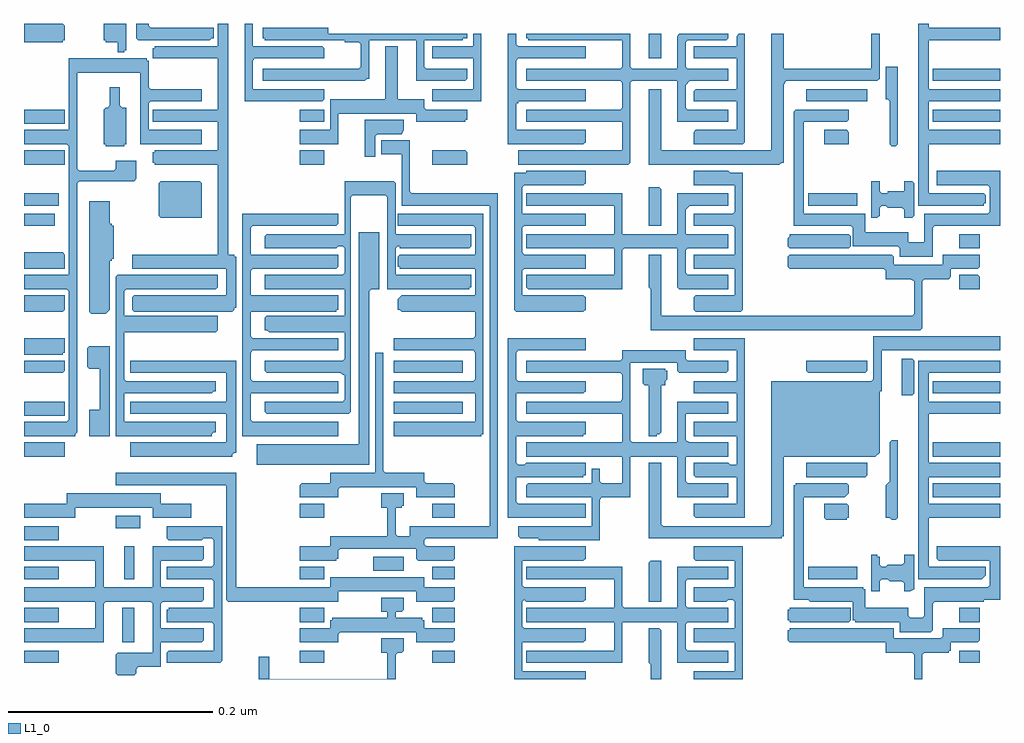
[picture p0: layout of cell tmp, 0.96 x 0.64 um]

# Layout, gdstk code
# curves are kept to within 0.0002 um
import gdstk
lib = gdstk.Library(unit=1e-6, precision=1e-09)
def R(c, l, rs):  # rectangles x0, y0, x1, y1
    for r in rs: c.add(gdstk.rectangle(r[:2], r[2:], *l))
def P(c, l, *ps):  # polygons
    for p in ps: c.add(gdstk.Polygon(p, *l))
L1_0 = (1, 0)

tmp = lib.new_cell('tmp')
R(tmp, L1_0, [(1.37,0.754,1.394,0.766), (1.5,0.754,1.522,0.766), (2.016,0.754,2.036,0.766), (1.37,0.794,1.394,0.808), (1.5,0.794,1.522,0.808), (1.37,0.836,1.394,0.848), (1.5,0.836,1.522,0.848), (1.442,0.844,1.472,0.858), (1.19,0.886,1.214,0.898), (1.1,0.956,1.14,0.97), (1.1,0.996,1.14,1.01), (1.99,1.018,2.056,1.03), (1.1,1.202,1.134,1.214), (1.1,1.242,1.14,1.256), (1.37,1.242,1.394,1.256), (1.37,1.284,1.394,1.296), (1.99,1.284,2.056,1.296)])
P(tmp, L1_0, [(1.1,0.766),(1.1,0.754),(1.134,0.754),(1.134,0.754),(1.134,0.766)],
  [(1.45,0.778),(1.45,0.764),(1.456,0.764),(1.456,0.738),(1.34,0.738),(1.34,0.76),(1.33,0.76),(1.33,0.738),(1.224,0.738),(1.464,0.738),(1.464,0.762),(1.466,0.764),(1.47,0.764),(1.472,0.766),(1.472,0.778)],
  [(1.85,0.788),(1.85,0.786),(1.848,0.786),(1.848,0.776),(1.85,0.774),(1.944,0.774),(1.944,0.764),(1.97,0.764),(1.972,0.762),(1.972,0.738),(1.98,0.738),(1.98,0.762),(1.982,0.764),(2.006,0.764),(2.006,0.766),(2.008,0.766),(2.008,0.774),(2.034,0.774),(2.036,0.776),(2.036,0.788),(2,0.788),(2,0.78),(1.998,0.778),(1.952,0.778),(1.952,0.788)],
  [(1.712,0.788),(1.712,0.754),(1.712,0.754),(1.714,0.752),(1.714,0.738),(1.724,0.738),(1.724,0.786),(1.722,0.788)],
  [(2.016,0.808),(2.016,0.794),(2.036,0.794),(2.036,0.796),(2.036,0.808)],
  [(1.85,0.808),(1.85,0.806),(1.848,0.806),(1.848,0.796),(1.85,0.796),(1.85,0.794),(1.908,0.794),(1.91,0.796),(1.91,0.808)],
  [(1.196,0.808),(1.196,0.774),(1.208,0.774),(1.208,0.776),(1.208,0.806),(1.208,0.806),(1.208,0.808)],
  [(1.1,0.808),(1.1,0.794),(1.134,0.794),(1.134,0.796),(1.134,0.808)],
  [(1.45,0.818),(1.45,0.804),(1.456,0.804),(1.456,0.798),(1.402,0.798),(1.402,0.796),(1.4,0.796),(1.4,0.788),(1.37,0.788),(1.37,0.774),(1.408,0.774),(1.408,0.782),(1.41,0.784),(1.484,0.784),(1.484,0.774),(1.52,0.774),(1.522,0.776),(1.522,0.788),(1.492,0.788),(1.492,0.796),(1.49,0.796),(1.49,0.798),(1.464,0.798),(1.464,0.804),(1.47,0.804),(1.472,0.806),(1.472,0.818)],
  [(1.87,0.848),(1.868,0.848),(1.868,0.836),(1.87,0.836),(1.916,0.836),(1.916,0.836),(1.916,0.848)],
  [(1.592,0.848),(1.592,0.836),(1.678,0.836),(1.678,0.808),(1.592,0.808),(1.592,0.794),(1.678,0.794),(1.678,0.766),(1.592,0.766),(1.592,0.754),(1.686,0.754),(1.686,0.794),(1.74,0.794),(1.74,0.754),(1.79,0.754),(1.79,0.766),(1.75,0.766),(1.748,0.768),(1.748,0.792),(1.75,0.794),(1.79,0.794),(1.79,0.808),(1.75,0.808),(1.748,0.81),(1.748,0.834),(1.75,0.836),(1.79,0.836),(1.79,0.848),(1.74,0.848),(1.74,0.808),(1.688,0.808),(1.686,0.81),(1.686,0.848)],
  [(1.1,0.848),(1.1,0.836),(1.134,0.836),(1.134,0.836),(1.134,0.848)],
  [(1.714,0.854),(1.712,0.852),(1.712,0.852),(1.712,0.816),(1.712,0.814),(1.714,0.814),(1.714,0.814),(1.722,0.814),(1.722,0.814),(1.724,0.814),(1.724,0.854)],
  [(1.962,0.86),(1.962,0.852),(1.96,0.85),(1.946,0.85),(1.944,0.848),(1.94,0.848),(1.938,0.85),(1.938,0.858),(1.936,0.858),(1.936,0.86),(1.93,0.86),(1.93,0.824),(1.938,0.824),(1.938,0.834),(1.94,0.836),(1.946,0.836),(1.948,0.834),(1.96,0.834),(1.962,0.832),(1.962,0.824),(1.968,0.824),(1.972,0.826),(1.972,0.86)],
  [(1.756,0.868),(1.756,0.856),(1.758,0.854),(1.796,0.854),(1.796,0.828),(1.756,0.828),(1.756,0.814),(1.788,0.814),(1.79,0.816),(1.794,0.816),(1.796,0.814),(1.796,0.788),(1.756,0.788),(1.756,0.774),(1.796,0.774),(1.796,0.746),(1.756,0.746),(1.756,0.738),(1.804,0.738),(1.804,0.868)],
  [(1.58,0.868),(1.58,0.738),(1.65,0.738),(1.65,0.746),(1.588,0.746),(1.588,0.774),(1.648,0.774),(1.65,0.776),(1.65,0.788),(1.59,0.788),(1.588,0.79),(1.588,0.814),(1.59,0.816),(1.592,0.814),(1.648,0.814),(1.65,0.816),(1.65,0.828),(1.59,0.828),(1.588,0.83),(1.588,0.854),(1.648,0.854),(1.65,0.856),(1.65,0.868)],
  [(1.2,0.868),(1.198,0.868),(1.198,0.836),(1.208,0.836),(1.208,0.836),(1.208,0.868),(1.208,0.868)],
  [(1.1,0.868),(1.1,0.854),(1.17,0.854),(1.17,0.828),(1.1,0.828),(1.1,0.814),(1.17,0.814),(1.17,0.788),(1.1,0.788),(1.1,0.774),(1.178,0.774),(1.178,0.812),(1.18,0.814),(1.224,0.814),(1.226,0.812),(1.226,0.764),(1.192,0.764),(1.19,0.762),(1.19,0.744),(1.192,0.742),(1.208,0.742),(1.21,0.744),(1.21,0.748),(1.212,0.75),(1.234,0.75),(1.234,0.774),(1.274,0.774),(1.276,0.776),(1.276,0.788),(1.234,0.788),(1.234,0.812),(1.236,0.814),(1.274,0.814),(1.276,0.816),(1.276,0.828),(1.234,0.828),(1.234,0.854),(1.274,0.854),(1.276,0.856),(1.276,0.868),(1.226,0.868),(1.226,0.828),(1.178,0.828),(1.178,0.868)],
  [(1.242,0.888),(1.24,0.888),(1.24,0.876),(1.242,0.874),(1.274,0.874),(1.276,0.876),(1.284,0.876),(1.286,0.874),(1.286,0.85),(1.284,0.848),(1.24,0.848),(1.24,0.836),(1.284,0.836),(1.286,0.834),(1.286,0.808),(1.242,0.808),(1.242,0.806),(1.24,0.806),(1.24,0.794),(1.284,0.794),(1.286,0.792),(1.286,0.766),(1.242,0.766),(1.24,0.764),(1.24,0.754),(1.292,0.754),(1.294,0.756),(1.294,0.888)],
  [(1.1,0.888),(1.1,0.874),(1.134,0.874),(1.134,0.876),(1.134,0.888)],
  [(1.884,0.91),(1.884,0.908),(1.884,0.896),(1.886,0.894),(1.906,0.894),(1.906,0.896),(1.908,0.896),(1.908,0.896),(1.908,0.908),(1.908,0.908),(1.906,0.91)],
  [(1.5,0.91),(1.5,0.896),(1.5,0.896),(1.522,0.896),(1.522,0.91)],
  [(1.37,0.91),(1.37,0.896),(1.392,0.896),(1.394,0.896),(1.394,0.91)],
  [(1.142,0.92),(1.142,0.91),(1.14,0.91),(1.1,0.91),(1.1,0.896),(1.148,0.896),(1.15,0.896),(1.15,0.906),(1.15,0.906),(1.224,0.906),(1.226,0.906),(1.226,0.896),(1.226,0.896),(1.262,0.896),(1.264,0.896),(1.264,0.898),(1.264,0.9),(1.264,0.908),(1.264,0.91),(1.236,0.91),(1.234,0.91),(1.234,0.92)],
  [(1.99,0.93),(1.99,0.928),(1.99,0.916),(1.99,0.916),(2.056,0.916),(2.056,0.93)],
  [(1.856,0.93),(1.856,0.928),(1.854,0.928),(1.854,0.816),(1.868,0.816),(1.87,0.814),(1.912,0.814),(1.912,0.796),(1.914,0.796),(1.914,0.794),(1.958,0.794),(1.958,0.784),(1.988,0.784),(1.99,0.786),(1.99,0.812),(1.992,0.814),(2.04,0.814),(2.04,0.816),(2.056,0.816),(2.056,0.868),(1.994,0.868),(1.994,0.856),(1.996,0.854),(2.046,0.854),(2.046,0.83),(2.044,0.828),(1.982,0.828),(1.982,0.8),(1.98,0.798),(1.968,0.798),(1.966,0.8),(1.966,0.808),(1.924,0.808),(1.924,0.826),(1.922,0.826),(1.922,0.828),(1.864,0.828),(1.864,0.916),(1.904,0.916),(1.908,0.92),(1.908,0.928),(1.906,0.93)],
  [(1.19,0.94),(1.19,0.928),(1.298,0.928),(1.298,0.816),(1.3,0.814),(1.408,0.814),(1.408,0.824),(1.484,0.824),(1.484,0.814),(1.52,0.814),(1.522,0.816),(1.522,0.828),(1.492,0.828),(1.492,0.838),(1.4,0.838),(1.4,0.828),(1.308,0.828),(1.308,0.94)],
  [(1.866,0.95),(1.866,0.95),(1.866,0.938),(1.866,0.936),(1.924,0.936),(1.926,0.938),(1.926,0.95),(1.924,0.95)],
  [(1.99,0.97),(1.99,0.958),(1.99,0.956),(2.056,0.956),(2.056,0.97)],
  [(1.95,0.972),(1.948,0.97),(1.948,0.932),(1.944,0.928),(1.944,0.896),(1.948,0.896),(1.95,0.894),(1.954,0.894),(1.956,0.896),(1.956,0.972)],
  [(1.462,1.01),(1.462,1),(1.462,0.998),(1.53,0.998),(1.53,1.01)],
  [(1.706,1.042),(1.706,1.028),(1.708,1.026),(1.712,1.026),(1.712,0.976),(1.72,0.976),(1.72,0.978),(1.722,0.978),(1.724,0.98),(1.724,1.026),(1.728,1.026),(1.728,1.03),(1.73,1.032),(1.73,1.04),(1.728,1.04),(1.728,1.042)],
  [(1.976,1.05),(1.976,0.836),(2.038,0.836),(2.042,0.84),(2.042,0.848),(1.986,0.848),(1.986,0.896),(2.056,0.896),(2.056,0.91),(1.986,0.91),(1.986,0.936),(2.056,0.936),(2.056,0.95),(1.986,0.95),(1.986,0.998),(2.056,0.998),(2.056,1.01),(1.986,1.01),(1.986,1.038),(2.056,1.038),(2.056,1.05)],
  [(1.866,1.05),(1.866,1.04),(1.868,1.038),(1.924,1.038),(1.926,1.04),(1.926,1.05)],
  [(1.462,1.05),(1.462,1.038),(1.462,1.038),(1.464,1.038),(1.53,1.038),(1.53,1.038),(1.53,1.05)],
  [(1.204,1.05),(1.204,1.038),(1.298,1.038),(1.298,1.01),(1.204,1.01),(1.204,0.998),(1.298,0.998),(1.298,0.97),(1.204,0.97),(1.204,0.956),(1.304,0.956),(1.304,0.958),(1.306,0.96),(1.308,0.96),(1.308,1.05)],
  [(1.1,1.05),(1.1,1.038),(1.138,1.038),(1.14,1.04),(1.14,1.05)],
  [(1.96,1.052),(1.96,1.016),(1.962,1.016),(1.97,1.016),(1.972,1.018),(1.972,1.05),(1.97,1.052),(1.97,1.052)],
  [(1.444,1.058),(1.444,0.94),(1.4,0.94),(1.4,0.93),(1.372,0.93),(1.37,0.928),(1.37,0.916),(1.408,0.916),(1.408,0.924),(1.41,0.926),(1.484,0.926),(1.484,0.916),(1.522,0.916),(1.522,0.928),(1.52,0.93),(1.494,0.93),(1.492,0.932),(1.492,0.94),(1.454,0.94),(1.452,0.942),(1.452,1.058)],
  [(1.686,1.06),(1.686,1.052),(1.684,1.05),(1.592,1.05),(1.592,1.038),(1.684,1.038),(1.686,1.036),(1.686,1.012),(1.684,1.01),(1.592,1.01),(1.592,0.998),(1.686,0.998),(1.686,0.97),(1.592,0.97),(1.592,0.956),(1.686,0.956),(1.686,0.93),(1.666,0.93),(1.664,0.932),(1.664,0.944),(1.656,0.944),(1.656,0.93),(1.594,0.93),(1.592,0.928),(1.592,0.916),(1.656,0.916),(1.656,0.888),(1.584,0.888),(1.584,0.878),(1.586,0.876),(1.604,0.876),(1.604,0.874),(1.664,0.874),(1.664,0.914),(1.666,0.916),(1.694,0.916),(1.694,0.956),(1.74,0.956),(1.74,0.916),(1.79,0.916),(1.79,0.93),(1.75,0.93),(1.748,0.932),(1.748,0.956),(1.79,0.956),(1.79,0.97),(1.752,0.97),(1.748,0.972),(1.748,0.998),(1.79,0.998),(1.79,1.01),(1.74,1.01),(1.74,0.97),(1.696,0.97),(1.694,0.972),(1.694,1.048),(1.74,1.048),(1.74,1.04),(1.742,1.038),(1.788,1.038),(1.79,1.04),(1.79,1.05),(1.75,1.05),(1.748,1.052),(1.748,1.06)],
  [(1.164,1.064),(1.162,1.062),(1.162,1.044),(1.164,1.042),(1.174,1.042),(1.174,1.002),(1.164,1.002),(1.164,0.976),(1.184,0.976),(1.184,1.064)],
  [(1.756,1.072),(1.756,1.06),(1.798,1.06),(1.798,1.03),(1.756,1.03),(1.756,1.018),(1.798,1.018),(1.798,0.99),(1.756,0.99),(1.756,0.976),(1.798,0.976),(1.798,0.948),(1.792,0.948),(1.79,0.95),(1.756,0.95),(1.756,0.938),(1.758,0.936),(1.798,0.936),(1.798,0.91),(1.756,0.91),(1.756,0.898),(1.758,0.896),(1.806,0.896),(1.806,1.072)],
  [(1.574,1.072),(1.574,0.896),(1.65,0.896),(1.65,0.91),(1.584,0.91),(1.582,0.912),(1.582,0.936),(1.648,0.936),(1.648,0.938),(1.65,0.938),(1.65,0.95),(1.592,0.95),(1.59,0.948),(1.584,0.948),(1.582,0.95),(1.582,0.976),(1.648,0.976),(1.648,0.978),(1.65,0.978),(1.65,0.99),(1.584,0.99),(1.582,0.992),(1.582,1.018),(1.648,1.018),(1.65,1.02),(1.65,1.03),(1.584,1.03),(1.582,1.032),(1.582,1.058),(1.584,1.06),(1.65,1.06),(1.65,1.072)],
  [(1.1,1.072),(1.1,1.056),(1.138,1.056),(1.138,1.058),(1.14,1.058),(1.14,1.072)],
  [(1.932,1.074),(1.932,1.032),(1.93,1.03),(1.832,1.03),(1.832,0.89),(1.83,0.888),(1.726,0.888),(1.724,0.89),(1.724,0.95),(1.712,0.95),(1.712,0.876),(1.842,0.876),(1.842,0.878),(1.844,0.878),(1.844,0.956),(1.934,0.956),(1.938,0.96),(1.938,1.02),(1.94,1.02),(1.94,1.06),(2.056,1.06),(2.056,1.074)],
  [(1.1,1.114),(1.1,1.098),(1.138,1.098),(1.14,1.1),(1.14,1.114),(1.138,1.114)],
  [(2.016,1.134),(2.016,1.134),(2.016,1.12),(2.036,1.12),(2.036,1.122),(2.036,1.132),(2.034,1.134)],
  [(1.192,1.134),(1.19,1.132),(1.19,0.976),(1.284,0.976),(1.284,0.978),(1.286,0.98),(1.288,0.98),(1.288,0.99),(1.198,0.99),(1.198,1.018),(1.284,1.018),(1.286,1.02),(1.288,1.02),(1.288,1.03),(1.2,1.03),(1.198,1.032),(1.198,1.078),(1.288,1.078),(1.29,1.08),(1.29,1.094),(1.198,1.094),(1.198,1.118),(1.2,1.12),(1.288,1.12),(1.29,1.122),(1.29,1.134)],
  [(1.712,1.154),(1.712,1.122),(1.714,1.12),(1.714,1.08),(1.978,1.08),(1.98,1.082),(1.98,1.128),(1.982,1.13),(2.006,1.13),(2.008,1.132),(2.008,1.14),(2.034,1.14),(2.036,1.142),(2.036,1.154),(2,1.154),(2,1.144),(1.952,1.144),(1.952,1.152),(1.95,1.154),(1.85,1.154),(1.848,1.152),(1.848,1.142),(1.85,1.14),(1.942,1.14),(1.944,1.138),(1.944,1.13),(1.968,1.13),(1.972,1.128),(1.972,1.096),(1.97,1.094),(1.724,1.094),(1.724,1.154)],
  [(1.1,1.156),(1.1,1.14),(1.14,1.14),(1.14,1.154),(1.138,1.156)],
  [(2.016,1.174),(2.016,1.16),(2.036,1.16),(2.036,1.162),(2.036,1.172),(2.036,1.174)],
  [(1.85,1.174),(1.85,1.172),(1.85,1.172),(1.848,1.17),(1.848,1.162),(1.85,1.16),(1.908,1.16),(1.91,1.162),(1.91,1.172),(1.908,1.174)],
  [(1.43,1.176),(1.428,1.176),(1.428,0.968),(1.328,0.968),(1.328,0.948),(1.438,0.948),(1.438,1.118),(1.44,1.12),(1.448,1.12),(1.448,1.176)],
  [(1.468,1.194),(1.466,1.194),(1.466,1.182),(1.54,1.182),(1.542,1.18),(1.542,1.154),(1.468,1.154),(1.466,1.152),(1.466,1.142),(1.468,1.142),(1.468,1.14),(1.542,1.14),(1.542,1.114),(1.47,1.114),(1.466,1.11),(1.466,1.1),(1.468,1.1),(1.47,1.098),(1.542,1.098),(1.542,1.074),(1.54,1.072),(1.462,1.072),(1.462,1.06),(1.54,1.06),(1.542,1.058),(1.542,1.032),(1.54,1.03),(1.462,1.03),(1.462,1.018),(1.542,1.018),(1.542,0.99),(1.462,0.99),(1.462,0.976),(1.548,0.976),(1.548,0.978),(1.55,0.978),(1.55,1.194)],
  [(1.316,1.194),(1.314,1.194),(1.314,0.976),(1.408,0.976),(1.408,0.99),(1.324,0.99),(1.322,0.992),(1.322,1.018),(1.408,1.018),(1.408,1.03),(1.324,1.03),(1.322,1.032),(1.322,1.058),(1.324,1.06),(1.408,1.06),(1.408,1.072),(1.324,1.072),(1.322,1.074),(1.322,1.098),(1.406,1.098),(1.406,1.1),(1.408,1.1),(1.408,1.114),(1.322,1.114),(1.322,1.138),(1.324,1.14),(1.406,1.14),(1.408,1.142),(1.408,1.154),(1.322,1.154),(1.322,1.18),(1.324,1.182),(1.406,1.182),(1.408,1.184),(1.408,1.194)],
  [(1.1,1.194),(1.1,1.182),(1.128,1.182),(1.13,1.182),(1.13,1.184),(1.13,1.184),(1.13,1.194),(1.13,1.194)],
  [(1.164,1.206),(1.164,1.098),(1.166,1.096),(1.18,1.096),(1.184,1.1),(1.184,1.148),(1.186,1.148),(1.186,1.15),(1.188,1.15),(1.188,1.182),(1.186,1.182),(1.186,1.184),(1.184,1.184),(1.184,1.206)],
  [(1.87,1.214),(1.868,1.214),(1.868,1.202),(1.87,1.202),(1.916,1.202),(1.916,1.214),(1.916,1.214)],
  [(1.592,1.214),(1.592,1.202),(1.678,1.202),(1.678,1.174),(1.592,1.174),(1.592,1.16),(1.678,1.16),(1.678,1.134),(1.592,1.134),(1.592,1.122),(1.594,1.12),(1.686,1.12),(1.686,1.158),(1.688,1.16),(1.74,1.16),(1.74,1.122),(1.742,1.12),(1.79,1.12),(1.79,1.134),(1.75,1.134),(1.748,1.136),(1.748,1.158),(1.75,1.16),(1.79,1.16),(1.79,1.174),(1.748,1.174),(1.748,1.198),(1.752,1.202),(1.79,1.202),(1.79,1.214),(1.74,1.214),(1.74,1.174),(1.686,1.174),(1.686,1.214)],
  [(1.712,1.22),(1.712,1.218),(1.712,1.182),(1.712,1.182),(1.724,1.182),(1.724,1.218),(1.722,1.22)],
  [(1.414,1.226),(1.414,1.174),(1.338,1.174),(1.336,1.172),(1.336,1.16),(1.406,1.16),(1.408,1.162),(1.412,1.162),(1.414,1.16),(1.414,1.136),(1.412,1.134),(1.336,1.134),(1.336,1.12),(1.414,1.12),(1.414,1.094),(1.338,1.094),(1.336,1.092),(1.336,1.08),(1.338,1.08),(1.34,1.078),(1.414,1.078),(1.414,1.052),(1.412,1.05),(1.336,1.05),(1.336,1.04),(1.338,1.038),(1.41,1.038),(1.412,1.036),(1.414,1.036),(1.414,1.012),(1.412,1.01),(1.336,1.01),(1.336,1),(1.338,0.998),(1.418,0.998),(1.42,1),(1.42,1.21),(1.422,1.212),(1.454,1.212),(1.456,1.21),(1.456,1.12),(1.536,1.12),(1.536,1.122),(1.538,1.122),(1.538,1.134),(1.464,1.134),(1.464,1.16),(1.466,1.162),(1.468,1.162),(1.468,1.16),(1.536,1.16),(1.538,1.162),(1.538,1.174),(1.464,1.174),(1.464,1.224),(1.462,1.226)],
  [(1.234,1.226),(1.232,1.224),(1.232,1.224),(1.232,1.192),(1.232,1.192),(1.234,1.19),(1.274,1.19),(1.274,1.224),(1.272,1.226)],
  [(1.93,1.226),(1.93,1.19),(1.936,1.19),(1.938,1.192),(1.938,1.2),(1.94,1.202),(1.944,1.202),(1.946,1.2),(1.96,1.2),(1.962,1.198),(1.962,1.19),(1.97,1.19),(1.972,1.192),(1.972,1.224),(1.97,1.226),(1.962,1.226),(1.962,1.216),(1.946,1.216),(1.946,1.214),(1.94,1.214),(1.938,1.216),(1.938,1.226)],
  [(1.756,1.236),(1.756,1.222),(1.796,1.222),(1.796,1.196),(1.794,1.194),(1.756,1.194),(1.756,1.182),(1.794,1.182),(1.796,1.18),(1.796,1.154),(1.756,1.154),(1.756,1.14),(1.796,1.14),(1.796,1.114),(1.758,1.114),(1.756,1.112),(1.756,1.1),(1.758,1.098),(1.802,1.098),(1.804,1.1),(1.804,1.234),(1.792,1.234),(1.79,1.236)],
  [(1.592,1.236),(1.592,1.234),(1.58,1.234),(1.58,1.1),(1.582,1.098),(1.648,1.098),(1.65,1.1),(1.65,1.112),(1.648,1.114),(1.588,1.114),(1.588,1.138),(1.59,1.14),(1.65,1.14),(1.65,1.154),(1.59,1.154),(1.588,1.156),(1.588,1.18),(1.59,1.182),(1.65,1.182),(1.65,1.194),(1.588,1.194),(1.588,1.22),(1.59,1.222),(1.648,1.222),(1.65,1.224),(1.65,1.236)],
  [(1.5,1.256),(1.5,1.254),(1.5,1.242),(1.534,1.242),(1.534,1.254),(1.532,1.256)],
  [(1.45,1.266),(1.45,1.252),(1.47,1.252),(1.47,1.202),(1.556,1.202),(1.556,0.888),(1.478,0.888),(1.478,0.878),(1.466,0.878),(1.464,0.88),(1.464,0.906),(1.47,0.906),(1.47,0.908),(1.472,0.908),(1.472,0.92),(1.45,0.92),(1.45,0.906),(1.456,0.906),(1.456,0.878),(1.4,0.878),(1.4,0.868),(1.37,0.868),(1.37,0.854),(1.406,0.854),(1.406,0.856),(1.408,0.856),(1.408,0.864),(1.41,0.866),(1.484,0.866),(1.484,0.856),(1.486,0.854),(1.52,0.854),(1.522,0.856),(1.522,0.868),(1.494,0.868),(1.492,0.87),(1.492,0.874),(1.494,0.876),(1.564,0.876),(1.564,1.214),(1.48,1.214),(1.478,1.216),(1.478,1.266)],
  [(1.884,1.276),(1.884,1.276),(1.884,1.274),(1.884,1.264),(1.884,1.264),(1.884,1.262),(1.908,1.262),(1.908,1.264),(1.908,1.264),(1.908,1.274),(1.906,1.276)],
  [(1.434,1.286),(1.434,1.25),(1.444,1.25),(1.444,1.27),(1.446,1.272),(1.47,1.272),(1.472,1.276),(1.472,1.286)],
  [(1.886,1.296),(1.856,1.296),(1.854,1.294),(1.854,1.182),(1.91,1.182),(1.912,1.18),(1.912,1.162),(1.956,1.162),(1.958,1.16),(1.958,1.152),(1.99,1.152),(1.99,1.18),(1.992,1.182),(2.056,1.182),(2.056,1.236),(1.994,1.236),(1.994,1.222),(2.044,1.222),(2.046,1.22),(2.046,1.196),(2.044,1.194),(1.982,1.194),(1.982,1.166),(1.966,1.166),(1.966,1.176),(1.924,1.176),(1.924,1.194),(1.864,1.194),(1.864,1.284),(1.906,1.284),(1.908,1.286),(1.908,1.296)],
  [(1.1,1.296),(1.1,1.282),(1.138,1.282),(1.14,1.282),(1.14,1.296)],
  [(1.866,1.316),(1.866,1.316),(1.866,1.304),(1.926,1.304),(1.926,1.316),(1.924,1.316)],
  [(1.184,1.318),(1.184,1.3),(1.182,1.298),(1.18,1.298),(1.178,1.296),(1.178,1.262),(1.18,1.262),(1.18,1.26),(1.198,1.26),(1.198,1.262),(1.2,1.262),(1.2,1.298),(1.196,1.298),(1.194,1.3),(1.194,1.318)],
  [(1.99,1.336),(1.99,1.336),(1.99,1.324),(1.99,1.324),(2.056,1.324),(2.056,1.336)],
  [(1.944,1.338),(1.944,1.306),(1.946,1.306),(1.948,1.304),(1.948,1.262),(1.95,1.26),(1.954,1.26),(1.956,1.262),(1.956,1.338)],
  [(1.144,1.346),(1.144,1.276),(1.1,1.276),(1.1,1.262),(1.142,1.262),(1.144,1.26),(1.144,1.134),(1.1,1.134),(1.1,1.12),(1.142,1.12),(1.144,1.118),(1.144,0.992),(1.142,0.99),(1.1,0.99),(1.1,0.976),(1.15,0.976),(1.15,0.978),(1.152,0.98),(1.152,1.224),(1.154,1.226),(1.208,1.226),(1.21,1.228),(1.21,1.246),(1.19,1.246),(1.19,1.238),(1.188,1.236),(1.154,1.236),(1.152,1.238),(1.152,1.332),(1.214,1.332),(1.214,1.262),(1.274,1.262),(1.274,1.276),(1.222,1.276),(1.222,1.302),(1.224,1.304),(1.274,1.304),(1.274,1.316),(1.224,1.316),(1.222,1.318),(1.222,1.344),(1.22,1.344),(1.22,1.346)],
  [(1.454,1.358),(1.454,1.306),(1.4,1.306),(1.4,1.276),(1.37,1.276),(1.37,1.262),(1.408,1.262),(1.408,1.292),(1.484,1.292),(1.484,1.284),(1.532,1.284),(1.532,1.286),(1.534,1.286),(1.534,1.296),(1.494,1.296),(1.492,1.298),(1.492,1.306),(1.466,1.306),(1.466,1.358)],
  [(1.832,1.37),(1.832,1.256),(1.724,1.256),(1.724,1.316),(1.712,1.316),(1.712,1.242),(1.84,1.242),(1.842,1.244),(1.844,1.244),(1.844,1.32),(1.846,1.324),(1.936,1.324),(1.938,1.326),(1.938,1.37),(1.93,1.37),(1.93,1.336),(1.844,1.336),(1.844,1.37)],
  [(1.8,1.37),(1.798,1.368),(1.798,1.358),(1.756,1.358),(1.756,1.346),(1.798,1.346),(1.798,1.316),(1.758,1.316),(1.756,1.314),(1.756,1.304),(1.798,1.304),(1.798,1.276),(1.758,1.276),(1.756,1.274),(1.756,1.262),(1.804,1.262),(1.806,1.264),(1.806,1.37)],
  [(1.712,1.37),(1.712,1.368),(1.712,1.346),(1.722,1.346),(1.724,1.346),(1.724,1.37)],
  [(1.592,1.37),(1.592,1.366),(1.594,1.366),(1.594,1.364),(1.686,1.364),(1.686,1.338),(1.684,1.336),(1.592,1.336),(1.592,1.324),(1.684,1.324),(1.686,1.322),(1.686,1.298),(1.684,1.296),(1.592,1.296),(1.592,1.284),(1.686,1.284),(1.686,1.256),(1.584,1.256),(1.584,1.242),(1.692,1.242),(1.694,1.244),(1.694,1.322),(1.696,1.324),(1.74,1.324),(1.74,1.284),(1.79,1.284),(1.79,1.296),(1.75,1.296),(1.748,1.298),(1.748,1.32),(1.752,1.324),(1.79,1.324),(1.79,1.336),(1.75,1.336),(1.748,1.338),(1.748,1.362),(1.75,1.364),(1.788,1.364),(1.79,1.366),(1.79,1.37),(1.742,1.37),(1.74,1.368),(1.74,1.336),(1.696,1.336),(1.694,1.338),(1.694,1.37)],
  [(1.574,1.37),(1.574,1.262),(1.648,1.262),(1.65,1.264),(1.65,1.276),(1.582,1.276),(1.582,1.302),(1.584,1.302),(1.584,1.304),(1.65,1.304),(1.65,1.316),(1.584,1.316),(1.582,1.318),(1.582,1.344),(1.584,1.346),(1.65,1.346),(1.65,1.358),(1.584,1.358),(1.582,1.36),(1.582,1.37)],
  [(1.54,1.37),(1.54,1.36),(1.54,1.358),(1.5,1.358),(1.5,1.358),(1.5,1.356),(1.5,1.346),(1.54,1.346),(1.54,1.344),(1.54,1.318),(1.54,1.316),(1.5,1.316),(1.5,1.304),(1.548,1.304),(1.548,1.37)],
  [(1.334,1.376),(1.334,1.366),(1.336,1.366),(1.336,1.364),(1.414,1.364),(1.414,1.362),(1.428,1.362),(1.43,1.36),(1.43,1.338),(1.428,1.336),(1.334,1.336),(1.334,1.324),(1.434,1.324),(1.436,1.326),(1.438,1.326),(1.438,1.364),(1.484,1.364),(1.484,1.324),(1.532,1.324),(1.534,1.326),(1.534,1.336),(1.494,1.336),(1.492,1.338),(1.492,1.364),(1.53,1.364),(1.53,1.366),(1.534,1.366),(1.534,1.37),(1.398,1.37),(1.398,1.376)],
  [(1.976,1.38),(1.976,1.202),(2.04,1.202),(2.04,1.204),(2.042,1.204),(2.042,1.212),(2.04,1.214),(1.986,1.214),(1.986,1.262),(2.056,1.262),(2.056,1.276),(1.986,1.276),(1.986,1.304),(2.056,1.304),(2.056,1.316),(1.986,1.316),(1.986,1.364),(2.056,1.364),(2.056,1.376),(1.986,1.376),(1.986,1.38)],
  [(1.316,1.38),(1.316,1.304),(1.392,1.304),(1.394,1.306),(1.394,1.316),(1.324,1.316),(1.324,1.344),(1.326,1.346),(1.394,1.346),(1.394,1.356),(1.392,1.358),(1.324,1.358),(1.324,1.38)],
  [(1.29,1.38),(1.29,1.358),(1.228,1.358),(1.228,1.356),(1.226,1.356),(1.226,1.346),(1.29,1.346),(1.29,1.296),(1.226,1.296),(1.226,1.284),(1.29,1.284),(1.29,1.256),(1.228,1.256),(1.228,1.254),(1.226,1.254),(1.226,1.244),(1.228,1.244),(1.228,1.242),(1.29,1.242),(1.29,1.154),(1.206,1.154),(1.206,1.14),(1.298,1.14),(1.298,1.114),(1.208,1.114),(1.206,1.112),(1.206,1.1),(1.208,1.098),(1.304,1.098),(1.306,1.1),(1.306,1.102),(1.308,1.102),(1.308,1.152),(1.306,1.152),(1.306,1.154),(1.3,1.154),(1.3,1.38)],
  [(1.21,1.38),(1.21,1.366),(1.21,1.366),(1.212,1.364),(1.282,1.364),(1.284,1.366),(1.284,1.366),(1.286,1.366),(1.286,1.376),(1.224,1.376),(1.222,1.378),(1.222,1.38)],
  [(1.178,1.38),(1.178,1.364),(1.18,1.364),(1.18,1.362),(1.19,1.362),(1.192,1.362),(1.192,1.352),(1.198,1.352),(1.198,1.354),(1.2,1.354),(1.2,1.38)],
  [(1.1,1.38),(1.1,1.362),(1.138,1.362),(1.138,1.364),(1.14,1.364),(1.14,1.378),(1.138,1.38)])

lib.write_gds('tmp.gds')
